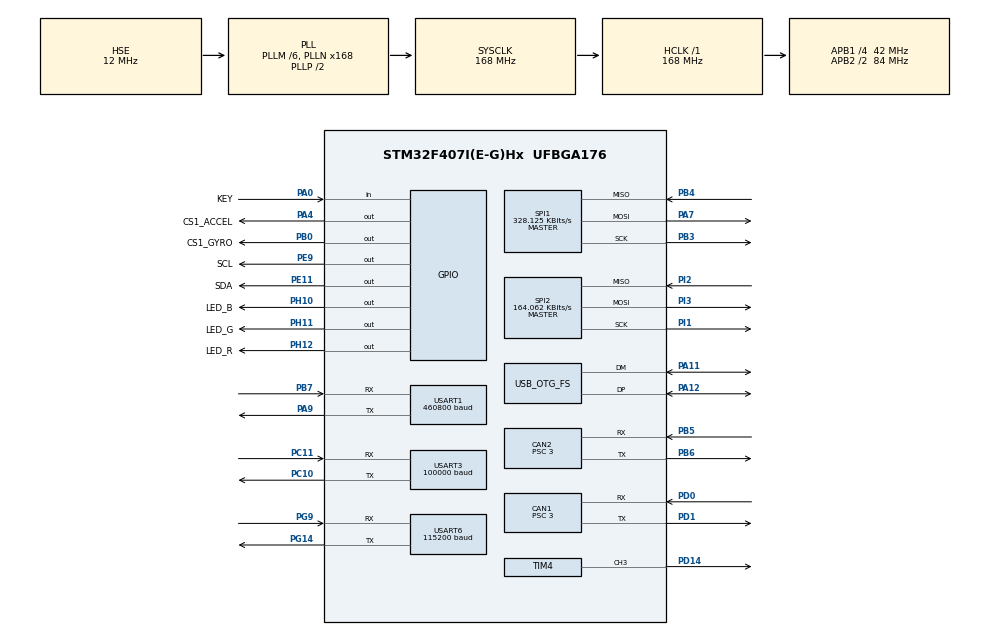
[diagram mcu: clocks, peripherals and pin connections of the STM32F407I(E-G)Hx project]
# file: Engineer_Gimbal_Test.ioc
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CAN1.ABOM=ENABLE
CAN1.AWUM=ENABLE
CAN1.BS1=CAN_BS1_10TQ
CAN1.BS2=CAN_BS2_3TQ
CAN1.CalculateBaudRate=1000000
CAN1.CalculateTimeBit=1000
CAN1.CalculateTimeQuantum=71.42857142857143
CAN1.NART=ENABLE
CAN1.Prescaler=3
CAN1.TXFP=ENABLE
CAN2.ABOM=ENABLE
CAN2.AWUM=ENABLE
CAN2.BS1=CAN_BS1_10TQ
CAN2.BS2=CAN_BS2_3TQ
CAN2.CalculateBaudRate=1000000
CAN2.CalculateTimeBit=1000
CAN2.CalculateTimeQuantum=71.42857142857143
CAN2.NART=ENABLE
CAN2.Prescaler=3
CAN2.TXFP=ENABLE
Dma.Request0=USART3_RX
Dma.Request1=USART6_RX
Dma.Request2=USART6_TX
Dma.Request3=USART1_RX
Dma.Request4=USART1_TX
Dma.Request5=SPI1_RX
Dma.Request6=SPI1_TX
Dma.SPI1_RX.5.Direction=DMA_PERIPH_TO_MEMORY
Dma.SPI1_RX.5.FIFOMode=DMA_FIFOMODE_DISABLE
Dma.SPI1_RX.5.Instance=DMA2_Stream2
Dma.SPI1_RX.5.MemDataAlignment=DMA_MDATAALIGN_BYTE
Dma.SPI1_RX.5.MemInc=DMA_MINC_ENABLE
Dma.SPI1_RX.5.Mode=DMA_NORMAL
Dma.SPI1_RX.5.PeriphDataAlignment=DMA_PDATAALIGN_BYTE
Dma.SPI1_RX.5.PeriphInc=DMA_PINC_DISABLE
Dma.SPI1_RX.5.Priority=DMA_PRIORITY_VERY_HIGH
Dma.SPI1_TX.6.Direction=DMA_MEMORY_TO_PERIPH
Dma.SPI1_TX.6.FIFOMode=DMA_FIFOMODE_DISABLE
Dma.SPI1_TX.6.Instance=DMA2_Stream3
Dma.SPI1_TX.6.MemDataAlignment=DMA_MDATAALIGN_BYTE
Dma.SPI1_TX.6.MemInc=DMA_MINC_ENABLE
Dma.SPI1_TX.6.Mode=DMA_NORMAL
Dma.SPI1_TX.6.PeriphDataAlignment=DMA_PDATAALIGN_BYTE
Dma.SPI1_TX.6.PeriphInc=DMA_PINC_DISABLE
Dma.SPI1_TX.6.Priority=DMA_PRIORITY_VERY_HIGH
Dma.USART1_RX.3.Direction=DMA_PERIPH_TO_MEMORY
Dma.USART1_RX.3.FIFOMode=DMA_FIFOMODE_DISABLE
Dma.USART1_RX.3.Instance=DMA2_Stream5
Dma.USART1_RX.3.MemDataAlignment=DMA_MDATAALIGN_BYTE
Dma.USART1_RX.3.MemInc=DMA_MINC_ENABLE
Dma.USART1_RX.3.Mode=DMA_NORMAL
Dma.USART1_RX.3.PeriphDataAlignment=DMA_PDATAALIGN_BYTE
Dma.USART1_RX.3.PeriphInc=DMA_PINC_DISABLE
Dma.USART1_RX.3.Priority=DMA_PRIORITY_LOW
Dma.USART1_TX.4.Direction=DMA_MEMORY_TO_PERIPH
Dma.USART1_TX.4.FIFOMode=DMA_FIFOMODE_DISABLE
Dma.USART1_TX.4.Instance=DMA2_Stream7
Dma.USART1_TX.4.MemDataAlignment=DMA_MDATAALIGN_BYTE
Dma.USART1_TX.4.MemInc=DMA_MINC_ENABLE
Dma.USART1_TX.4.Mode=DMA_NORMAL
Dma.USART1_TX.4.PeriphDataAlignment=DMA_PDATAALIGN_BYTE
Dma.USART1_TX.4.PeriphInc=DMA_PINC_DISABLE
Dma.USART1_TX.4.Priority=DMA_PRIORITY_LOW
Dma.USART3_RX.0.Direction=DMA_PERIPH_TO_MEMORY
Dma.USART3_RX.0.FIFOMode=DMA_FIFOMODE_DISABLE
Dma.USART3_RX.0.Instance=DMA1_Stream1
Dma.USART3_RX.0.MemDataAlignment=DMA_MDATAALIGN_BYTE
Dma.USART3_RX.0.MemInc=DMA_MINC_ENABLE
Dma.USART3_RX.0.Mode=DMA_NORMAL
Dma.USART3_RX.0.PeriphDataAlignment=DMA_PDATAALIGN_BYTE
Dma.USART3_RX.0.PeriphInc=DMA_PINC_DISABLE
Dma.USART3_RX.0.Priority=DMA_PRIORITY_HIGH
Dma.USART6_RX.1.Direction=DMA_PERIPH_TO_MEMORY
Dma.USART6_RX.1.FIFOMode=DMA_FIFOMODE_DISABLE
Dma.USART6_RX.1.Instance=DMA2_Stream1
Dma.USART6_RX.1.MemDataAlignment=DMA_MDATAALIGN_BYTE
Dma.USART6_RX.1.MemInc=DMA_MINC_ENABLE
Dma.USART6_RX.1.Mode=DMA_NORMAL
Dma.USART6_RX.1.PeriphDataAlignment=DMA_PDATAALIGN_BYTE
Dma.USART6_RX.1.PeriphInc=DMA_PINC_DISABLE
Dma.USART6_RX.1.Priority=DMA_PRIORITY_LOW
Dma.USART6_TX.2.Direction=DMA_MEMORY_TO_PERIPH
Dma.USART6_TX.2.FIFOMode=DMA_FIFOMODE_DISABLE
Dma.USART6_TX.2.Instance=DMA2_Stream6
Dma.USART6_TX.2.MemDataAlignment=DMA_MDATAALIGN_BYTE
Dma.USART6_TX.2.MemInc=DMA_MINC_ENABLE
Dma.USART6_TX.2.Mode=DMA_NORMAL
Dma.USART6_TX.2.PeriphDataAlignment=DMA_PDATAALIGN_BYTE
Dma.USART6_TX.2.PeriphInc=DMA_PINC_DISABLE
Dma.USART6_TX.2.Priority=DMA_PRIORITY_LOW
FREERTOS.BinarySemaphores01=dr16UpdateBinarySem,Dynamic,NULL,Available;CommCanBinarySem,Dynamic,NULL,;upliftLeftBinarySem,Dynamic,NULL,;upliftRightBinarySem,Dynamic,NULL,;extendLeftBinarySem,Dynamic,NULL,;extendRightBinarySem,Dynamic,NULL,;slideBinarySem,Dynamic,NULL,;armYawBinarySem,Dynamic,NULL,;yawExtendBinarySem,Dynamic,NULL,;pitchRollUpBinarySem,Dynamic,NULL,;pitchRollDownBinarySem,Dynamic,NULL,;cameraYawBinarySem,Dynamic,NULL,;armRollImuBinarySem,Dynamic,NULL,;armRollBinarySem,Dynamic,NULL,;armYawDMBinarySem,Dynamic,NULL,;armPitchDMBinarySem,Dynamic,NULL,;USBUpdateBinarySem,Dynamic,NULL,Depleted
FREERTOS.CountingSemaphores01=can1_tx_cnt_sem,3,Dynamic,NULL,3;can2_tx_cnt_sem,3,Dynamic,NULL,3
FREERTOS.Queues01=can1SendQueue,32,can_tx_t,0,Dynamic,NULL,NULL;can2SendQueue,32,can_tx_t,0,Dynamic,NULL,NULL
FREERTOS.Tasks01=defaultTask,25,128,StartDefaultTask,Default,NULL,Dynamic,NULL,NULL;kinematics,32,2048,kinematicsTask,As weak,NULL,Dynamic,NULL,NULL;rcReceive,24,128,rcReceiveTask,As weak,NULL,Dynamic,NULL,NULL;communication,24,256,communicationTask,As weak,NULL,Dynamic,NULL,NULL;armRollIMU,24,256,armRollIMUTask,As weak,NULL,Dynamic,NULL,NULL;can1Send,24,256,can1SendTask,As weak,NULL,Dynamic,NULL,NULL;can2Send,24,256,can2SendTask,As weak,NULL,Dynamic,NULL,NULL;autoCtrl,25,384,autoCtrlTask,As weak,NULL,Dynamic,NULL,NULL;motor,24,256,motorTask,As weak,NULL,Dynamic,NULL,NULL;test,24,256,testTask,As weak,NULL,Dynamic,NULL,NULL;extendCtrl,24,256,extendCtrlTask,As weak,NULL,Dynamic,NULL,NULL;slideCtrl,24,256,slideCtrlTask,As weak,NULL,Dynamic,NULL,NULL;upliftCtrl,25,256,upliftCtrlTask,As weak,NULL,Dynamic,NULL,NULL;armYawCtrl,24,256,armYawCtrlTask,As weak,NULL,Dynamic,NULL,NULL;armRollCtrl,24,256,armRollCtrlTask,As weak,NULL,Dynamic,NULL,NULL;yX2Ctrl,24,256,yX2CtrlTask,As weak,NULL,Dynamic,NULL,NULL;djiMotorService,24,256,djiMotorServiceTask,As weak,NULL,Dynamic,NULL,NULL;XGZP6847,23,128,XGZP6847Task,As weak,NULL,Dynamic,NULL,NULL;armPitchCtrl,24,256,armPitchCtrlTask,As weak,NULL,Dynamic,NULL,NULL;rc_control_Task,24,128,RC_Control_Task,As weak,NULL,Dynamic,NULL,NULL
FREERTOS.configMAX_TASK_NAME_LEN=24
FREERTOS.configTOTAL_HEAP_SIZE=86000
FREERTOS.configUSE_NEWLIB_REENTRANT=1
IWDG.Prescaler=IWDG_PRESCALER_64
IWDG.Reload=625
Mcu.Family=STM32F4
Mcu.Name=STM32F407I(E-G)Hx
Mcu.Package=UFBGA176
NVIC.CAN1_RX0_IRQn=true\:5\:0\:false\:false\:true\:true\:true\:true\:true
NVIC.CAN1_TX_IRQn=true\:5\:0\:false\:false\:true\:true\:true\:true\:true
NVIC.CAN2_RX1_IRQn=true\:5\:0\:false\:false\:true\:true\:true\:true\:true
NVIC.CAN2_TX_IRQn=true\:5\:0\:false\:false\:true\:true\:true\:true\:true
NVIC.DMA1_Stream1_IRQn=true\:5\:0\:false\:false\:true\:true\:false\:true\:true
NVIC.DMA2_Stream1_IRQn=true\:5\:0\:false\:false\:true\:true\:false\:true\:true
NVIC.DMA2_Stream2_IRQn=true\:5\:0\:false\:false\:true\:true\:false\:true\:true
NVIC.DMA2_Stream3_IRQn=true\:5\:0\:false\:false\:true\:true\:false\:true\:true
NVIC.DMA2_Stream5_IRQn=true\:5\:0\:false\:false\:true\:false\:false\:true\:true
NVIC.DMA2_Stream6_IRQn=true\:5\:0\:false\:false\:true\:true\:false\:true\:true
NVIC.DMA2_Stream7_IRQn=true\:5\:0\:false\:false\:true\:true\:false\:true\:true
NVIC.OTG_FS_IRQn=true\:5\:0\:false\:false\:true\:true\:true\:true\:true
NVIC.PriorityGroup=NVIC_PRIORITYGROUP_4
NVIC.TIM4_IRQn=true\:5\:0\:false\:false\:true\:true\:true\:true\:true
NVIC.TIM7_IRQn=true\:5\:0\:true\:false\:true\:false\:false\:true\:true
NVIC.TimeBase=TIM7_IRQn
NVIC.TimeBaseIP=TIM7
NVIC.USART1_IRQn=true\:5\:0\:false\:false\:true\:true\:true\:true\:true
NVIC.USART3_IRQn=true\:5\:0\:false\:false\:true\:true\:true\:true\:true
NVIC.USART6_IRQn=true\:5\:0\:false\:false\:true\:true\:true\:true\:true
PA0-WKUP.GPIO_Label=KEY
PA0-WKUP.GPIO_PuPd=GPIO_PULLUP
PA0-WKUP.Signal=GPIO_Input
PA11.Mode=Device_Only
PA11.Signal=USB_OTG_FS_DM
PA12.Mode=Device_Only
PA12.Signal=USB_OTG_FS_DP
PA13.Mode=Serial_Wire
PA13.Signal=SYS_JTMS-SWDIO
PA14.Mode=Serial_Wire
PA14.Signal=SYS_JTCK-SWCLK
PA4.GPIO_Label=CS1_ACCEL
PA4.GPIO_PuPd=GPIO_PULLUP
PA4.GPIO_Speed=GPIO_SPEED_FREQ_HIGH
PA4.PinState=GPIO_PIN_SET
PA4.Signal=GPIO_Output
PA7.Mode=Full_Duplex_Master
PA7.Signal=SPI1_MOSI
PA9.Mode=Asynchronous
PA9.Signal=USART1_TX
PB0.GPIO_Label=CS1_GYRO
PB0.GPIO_PuPd=GPIO_PULLUP
PB0.GPIO_Speed=GPIO_SPEED_FREQ_HIGH
PB0.PinState=GPIO_PIN_SET
PB0.Signal=GPIO_Output
PB3.Mode=Full_Duplex_Master
PB3.Signal=SPI1_SCK
PB4.Mode=Full_Duplex_Master
PB4.Signal=SPI1_MISO
PB5.Mode=CAN_Activate
PB5.Signal=CAN2_RX
PB6.Mode=CAN_Activate
PB6.Signal=CAN2_TX
PB7.Mode=Asynchronous
PB7.Signal=USART1_RX
PC10.Mode=Asynchronous
PC10.Signal=USART3_TX
PC11.Mode=Asynchronous
PC11.Signal=USART3_RX
PD0.Mode=CAN_Activate
PD0.Signal=CAN1_RX
PD1.Mode=CAN_Activate
PD1.Signal=CAN1_TX
PD14.Signal=S_TIM4_CH3
PE11.GPIO_Label=SDA
PE11.GPIO_ModeDefaultOutputPP=GPIO_MODE_OUTPUT_PP
PE11.GPIO_PuPd=GPIO_PULLUP
PE11.GPIO_Speed=GPIO_SPEED_FREQ_VERY_HIGH
PE11.PinState=GPIO_PIN_SET
PE11.Signal=GPIO_Output
PE9.GPIO_Label=SCL
PE9.GPIO_ModeDefaultOutputPP=GPIO_MODE_OUTPUT_PP
PE9.GPIO_PuPd=GPIO_PULLUP
PE9.GPIO_Speed=GPIO_SPEED_FREQ_VERY_HIGH
PE9.PinState=GPIO_PIN_SET
PE9.Signal=GPIO_Output
PG14.Mode=Asynchronous
PG14.Signal=USART6_TX
PG9.Mode=Asynchronous
PG9.Signal=USART6_RX
PH0-OSC_IN.Mode=HSE-External-Oscillator
PH0-OSC_IN.Signal=RCC_OSC_IN
PH1-OSC_OUT.Mode=HSE-External-Oscillator
PH1-OSC_OUT.Signal=RCC_OSC_OUT
PH10.GPIO_Label=LED_B
PH10.Signal=GPIO_Output
PH11.GPIO_Label=LED_G
PH11.Signal=GPIO_Output
PH12.GPIO_Label=LED_R
PH12.Signal=GPIO_Output
PI1.Mode=Full_Duplex_Master
PI1.Signal=SPI2_SCK
PI2.Mode=Full_Duplex_Master
PI2.Signal=SPI2_MISO
PI3.Mode=Full_Duplex_Master
PI3.Signal=SPI2_MOSI
ProjectManager.HeapSize=0x400
ProjectManager.StackSize=0x400
ProjectManager.TargetToolchain=STM32CubeIDE
RCC.48MHZClocksFreq_Value=48000000
RCC.AHBFreq_Value=168000000
RCC.APB1CLKDivider=RCC_HCLK_DIV4
RCC.APB1Freq_Value=42000000
RCC.APB1TimFreq_Value=84000000
RCC.APB2CLKDivider=RCC_HCLK_DIV2
RCC.APB2Freq_Value=84000000
RCC.APB2TimFreq_Value=168000000
RCC.CortexFreq_Value=168000000
RCC.HCLKFreq_Value=168000000
RCC.HSE_VALUE=12000000
RCC.HSI_VALUE=16000000
RCC.LSE_VALUE=32768
RCC.PLLM=6
RCC.PLLN=168
RCC.PLLQ=7
RCC.SYSCLKFreq_VALUE=168000000
RCC.SYSCLKSource=RCC_SYSCLKSOURCE_PLLCLK
RCC.VCOOutputFreq_Value=336000000
SH.S_TIM4_CH3.0=TIM4_CH3,PWM Generation3 CH3
SPI1.BaudRatePrescaler=SPI_BAUDRATEPRESCALER_256
SPI1.CLKPhase=SPI_PHASE_2EDGE
SPI1.CLKPolarity=SPI_POLARITY_HIGH
SPI1.CalculateBaudRate=328.125 KBits/s
SPI1.Direction=SPI_DIRECTION_2LINES
SPI1.Mode=SPI_MODE_MASTER
SPI1.VirtualType=VM_MASTER
SPI2.BaudRatePrescaler=SPI_BAUDRATEPRESCALER_256
SPI2.CLKPhase=SPI_PHASE_2EDGE
SPI2.CLKPolarity=SPI_POLARITY_HIGH
SPI2.CalculateBaudRate=164.062 KBits/s
SPI2.Direction=SPI_DIRECTION_2LINES
SPI2.Mode=SPI_MODE_MASTER
SPI2.VirtualType=VM_MASTER
TIM4.Channel-PWM\ Generation3\ CH3=TIM_CHANNEL_3
TIM4.Period=21000-1
USART1.BaudRate=460800
USART1.VirtualMode=VM_ASYNC
USART3.BaudRate=100000
USART3.VirtualMode=VM_ASYNC
USART3.WordLength=WORDLENGTH_9B
USART6.BaudRate=115200
USART6.VirtualMode=VM_ASYNC
USB_DEVICE.CLASS_NAME_FS=CDC
USB_DEVICE.VirtualMode-CDC_FS=Cdc
USB_DEVICE.VirtualModeFS=Cdc_FS
USB_OTG_FS.VirtualMode=Device_Only
VP_FREERTOS_VS_CMSIS_V2.Mode=CMSIS_V2
VP_IWDG_VS_IWDG.Mode=IWDG_Activate
VP_SYS_VS_tim7.Mode=TIM7
VP_USB_DEVICE_VS_USB_DEVICE_CDC_FS.Mode=CDC_FS
board=custom

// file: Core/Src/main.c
/* USER CODE BEGIN Header */
/**
  ******************************************************************************
  * @file           : main.c
  * @brief          : Main program body
  ******************************************************************************
  * @attention
  *
  * Copyright (c) 2024 STMicroelectronics.
  * All rights reserved.
  *
  * This software is licensed under terms that can be found in the LICENSE file
  * in the root directory of this software component.
  * If no LICENSE file comes with this software, it is provided AS-IS.
  *
  ******************************************************************************
  */
/* USER CODE END Header */
#include "main.h"
#include "cmsis_os.h"
#include "can.h"
#include "dma.h"
#include "iwdg.h"
#include "spi.h"
#include "tim.h"
#include "usart.h"
#include "usb_device.h"
#include "gpio.h"

/* USER CODE BEGIN Includes */
//#include "drv_BMI088.h"
#include "drv_buzzer.h"
/* USER CODE END Includes */

void SystemClock_Config(void);
void MX_FREERTOS_Init(void);

int main(void)
{

  /* USER CODE BEGIN 1 */
  __HAL_RCC_SYSCLK_CONFIG(RCC_SYSCLKSOURCE_HSI);
  /* USER CODE END 1 */

  /* MCU Configuration--------------------------------------------------------*/

  /* Reset of all peripherals, Initializes the Flash interface and the Systick. */
  HAL_Init();

  /* Configure the system clock */
  SystemClock_Config();

  /* Initialize all configured peripherals */
  MX_GPIO_Init();
  MX_DMA_Init();
  MX_CAN1_Init();
  MX_CAN2_Init();
  MX_USART1_UART_Init();
  MX_USART3_UART_Init();
  MX_USART6_UART_Init();
  MX_SPI1_Init();
  MX_SPI2_Init();
  MX_TIM4_Init();
  MX_IWDG_Init();
  /* USER CODE BEGIN 2 */
  buzzer_init();

  /* USER CODE END 2 */

  /* Init scheduler */
  osKernelInitialize();

  /* Call init function for freertos objects (in cmsis_os2.c) */
  MX_FREERTOS_Init();

  /* Start scheduler */
  osKernelStart();

  /* We should never get here as control is now taken by the scheduler */

  /* Infinite loop */
  while (1)
  {

  }
}

void SystemClock_Config(void)
{
  RCC_OscInitTypeDef RCC_OscInitStruct = {0};
  RCC_ClkInitTypeDef RCC_ClkInitStruct = {0};

  /** Configure the main internal regulator output voltage
  */
  __HAL_RCC_PWR_CLK_ENABLE();
  __HAL_PWR_VOLTAGESCALING_CONFIG(PWR_REGULATOR_VOLTAGE_SCALE1);

  /** Initializes the RCC Oscillators according to the specified parameters
  * in the RCC_OscInitTypeDef structure.
  */
  RCC_OscInitStruct.OscillatorType = RCC_OSCILLATORTYPE_LSI|RCC_OSCILLATORTYPE_HSE;
  RCC_OscInitStruct.HSEState = RCC_HSE_ON;
  RCC_OscInitStruct.LSIState = RCC_LSI_ON;
  RCC_OscInitStruct.PLL.PLLState = RCC_PLL_ON;
  RCC_OscInitStruct.PLL.PLLSource = RCC_PLLSOURCE_HSE;
  RCC_OscInitStruct.PLL.PLLM = 6;
  RCC_OscInitStruct.PLL.PLLN = 168;
  RCC_OscInitStruct.PLL.PLLP = RCC_PLLP_DIV2;
  RCC_OscInitStruct.PLL.PLLQ = 7;
  if (HAL_RCC_OscConfig(&RCC_OscInitStruct) != HAL_OK)
  {
    Error_Handler();
  }

  /** Initializes the CPU, AHB and APB buses clocks
  */
  RCC_ClkInitStruct.ClockType = RCC_CLOCKTYPE_HCLK|RCC_CLOCKTYPE_SYSCLK
                              |RCC_CLOCKTYPE_PCLK1|RCC_CLOCKTYPE_PCLK2;
  RCC_ClkInitStruct.SYSCLKSource = RCC_SYSCLKSOURCE_PLLCLK;
  RCC_ClkInitStruct.AHBCLKDivider = RCC_SYSCLK_DIV1;
  RCC_ClkInitStruct.APB1CLKDivider = RCC_HCLK_DIV4;
  RCC_ClkInitStruct.APB2CLKDivider = RCC_HCLK_DIV2;

  if (HAL_RCC_ClockConfig(&RCC_ClkInitStruct, FLASH_LATENCY_5) != HAL_OK)
  {
    Error_Handler();
  }
}

void HAL_TIM_PeriodElapsedCallback(TIM_HandleTypeDef *htim)
{
  if (htim->Instance == TIM7) {
    HAL_IncTick();
  }
}

void Error_Handler(void)
{
  __disable_irq();
  while (1)
  {
  }
}

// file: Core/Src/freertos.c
/* USER CODE BEGIN Header */
/**
  ******************************************************************************
  * File Name          : freertos.c
  * Description        : Code for freertos applications
  ******************************************************************************
  * @attention
  *
  * Copyright (c) 2024 STMicroelectronics.
  * All rights reserved.
  *
  * This software is licensed under terms that can be found in the LICENSE file
  * in the root directory of this software component.
  * If no LICENSE file comes with this software, it is provided AS-IS.
  *
  ******************************************************************************
  */
/* USER CODE END Header */

#include "FreeRTOS.h"
#include "task.h"
#include "main.h"
#include "cmsis_os.h"

/* USER CODE BEGIN Includes */
#include "stdbool.h"
#include "iwdg.h"
#include "user_lib.h"
/* USER CODE END Includes */

/* USER CODE BEGIN PTD */
typedef struct
{
  bool is_enable;
  uint8_t len;
  uint8_t *buff;
  uint32_t stdid;
} can_tx_t;
/* USER CODE END PTD */

/* USER CODE BEGIN Variables */
uint32_t global_working_time = 0;
/* USER CODE END Variables */
/* Definitions for defaultTask */
osThreadId_t defaultTaskHandle;
const osThreadAttr_t defaultTask_attributes = {
  .name = "defaultTask",
  .stack_size = 128 * 4,
  .priority = (osPriority_t) osPriorityNormal1,
};
/* Definitions for kinematics */
osThreadId_t kinematicsHandle;
const osThreadAttr_t kinematics_attributes = {
  .name = "kinematics",
  .stack_size = 2048 * 4,
  .priority = (osPriority_t) osPriorityAboveNormal,
};
/* Definitions for rcReceive */
osThreadId_t rcReceiveHandle;
const osThreadAttr_t rcReceive_attributes = {
  .name = "rcReceive",
  .stack_size = 128 * 4,
  .priority = (osPriority_t) osPriorityNormal,
};
/* Definitions for communication */
osThreadId_t communicationHandle;
const osThreadAttr_t communication_attributes = {
  .name = "communication",
  .stack_size = 256 * 4,
  .priority = (osPriority_t) osPriorityNormal,
};
/* Definitions for armRollIMU */
osThreadId_t armRollIMUHandle;
const osThreadAttr_t armRollIMU_attributes = {
  .name = "armRollIMU",
  .stack_size = 256 * 4,
  .priority = (osPriority_t) osPriorityNormal,
};
/* Definitions for can1Send */
osThreadId_t can1SendHandle;
const osThreadAttr_t can1Send_attributes = {
  .name = "can1Send",
  .stack_size = 256 * 4,
  .priority = (osPriority_t) osPriorityNormal,
};
/* Definitions for can2Send */
osThreadId_t can2SendHandle;
const osThreadAttr_t can2Send_attributes = {
  .name = "can2Send",
  .stack_size = 256 * 4,
  .priority = (osPriority_t) osPriorityNormal,
};
/* Definitions for autoCtrl */
osThreadId_t autoCtrlHandle;
const osThreadAttr_t autoCtrl_attributes = {
  .name = "autoCtrl",
  .stack_size = 384 * 4,
  .priority = (osPriority_t) osPriorityNormal1,
};
/* Definitions for motor */
osThreadId_t motorHandle;
const osThreadAttr_t motor_attributes = {
  .name = "motor",
  .stack_size = 256 * 4,
  .priority = (osPriority_t) osPriorityNormal,
};
/* Definitions for test */
osThreadId_t testHandle;
const osThreadAttr_t test_attributes = {
  .name = "test",
  .stack_size = 256 * 4,
  .priority = (osPriority_t) osPriorityNormal,
};
/* Definitions for extendCtrl */
osThreadId_t extendCtrlHandle;
const osThreadAttr_t extendCtrl_attributes = {
  .name = "extendCtrl",
  .stack_size = 256 * 4,
  .priority = (osPriority_t) osPriorityNormal,
};
/* Definitions for slideCtrl */
osThreadId_t slideCtrlHandle;
const osThreadAttr_t slideCtrl_attributes = {
  .name = "slideCtrl",
  .stack_size = 256 * 4,
  .priority = (osPriority_t) osPriorityNormal,
};
/* Definitions for upliftCtrl */
osThreadId_t upliftCtrlHandle;
const osThreadAttr_t upliftCtrl_attributes = {
  .name = "upliftCtrl",
  .stack_size = 256 * 4,
  .priority = (osPriority_t) osPriorityNormal1,
};
/* Definitions for armYawCtrl */
osThreadId_t armYawCtrlHandle;
const osThreadAttr_t armYawCtrl_attributes = {
  .name = "armYawCtrl",
  .stack_size = 256 * 4,
  .priority = (osPriority_t) osPriorityNormal,
};
/* Definitions for armRollCtrl */
osThreadId_t armRollCtrlHandle;
const osThreadAttr_t armRollCtrl_attributes = {
  .name = "armRollCtrl",
  .stack_size = 256 * 4,
  .priority = (osPriority_t) osPriorityNormal,
};
/* Definitions for yX2Ctrl */
osThreadId_t yX2CtrlHandle;
const osThreadAttr_t yX2Ctrl_attributes = {
  .name = "yX2Ctrl",
  .stack_size = 256 * 4,
  .priority = (osPriority_t) osPriorityNormal,
};
/* Definitions for djiMotorService */
osThreadId_t djiMotorServiceHandle;
const osThreadAttr_t djiMotorService_attributes = {
  .name = "djiMotorService",
  .stack_size = 256 * 4,
  .priority = (osPriority_t) osPriorityNormal,
};
/* Definitions for XGZP6847 */
osThreadId_t XGZP6847Handle;
const osThreadAttr_t XGZP6847_attributes = {
  .name = "XGZP6847",
  .stack_size = 128 * 4,
  .priority = (osPriority_t) osPriorityBelowNormal7,
};
/* Definitions for armPitchCtrl */
osThreadId_t armPitchCtrlHandle;
const osThreadAttr_t armPitchCtrl_attributes = {
  .name = "armPitchCtrl",
  .stack_size = 256 * 4,
  .priority = (osPriority_t) osPriorityNormal,
};
/* Definitions for rc_control_Task */
osThreadId_t rc_control_TaskHandle;
const osThreadAttr_t rc_control_Task_attributes = {
  .name = "rc_control_Task",
  .stack_size = 128 * 4,
  .priority = (osPriority_t) osPriorityNormal,
};
/* Definitions for can1SendQueue */
osMessageQueueId_t can1SendQueueHandle;
const osMessageQueueAttr_t can1SendQueue_attributes = {
  .name = "can1SendQueue"
};
/* Definitions for can2SendQueue */
osMessageQueueId_t can2SendQueueHandle;
const osMessageQueueAttr_t can2SendQueue_attributes = {
  .name = "can2SendQueue"
};
/* Definitions for dr16UpdateBinarySem */
osSemaphoreId_t dr16UpdateBinarySemHandle;
const osSemaphoreAttr_t dr16UpdateBinarySem_attributes = {
  .name = "dr16UpdateBinarySem"
};
/* Definitions for CommCanBinarySem */
osSemaphoreId_t CommCanBinarySemHandle;
const osSemaphoreAttr_t CommCanBinarySem_attributes = {
  .name = "CommCanBinarySem"
};
/* Definitions for upliftLeftBinarySem */
osSemaphoreId_t upliftLeftBinarySemHandle;
const osSemaphoreAttr_t upliftLeftBinarySem_attributes = {
  .name = "upliftLeftBinarySem"
};
/* Definitions for upliftRightBinarySem */
osSemaphoreId_t upliftRightBinarySemHandle;
const osSemaphoreAttr_t upliftRightBinarySem_attributes = {
  .name = "upliftRightBinarySem"
};
/* Definitions for extendLeftBinarySem */
osSemaphoreId_t extendLeftBinarySemHandle;
const osSemaphoreAttr_t extendLeftBinarySem_attributes = {
  .name = "extendLeftBinarySem"
};
/* Definitions for extendRightBinarySem */
osSemaphoreId_t extendRightBinarySemHandle;
const osSemaphoreAttr_t extendRightBinarySem_attributes = {
  .name = "extendRightBinarySem"
};
/* Definitions for slideBinarySem */
osSemaphoreId_t slideBinarySemHandle;
const osSemaphoreAttr_t slideBinarySem_attributes = {
  .name = "slideBinarySem"
};
/* Definitions for armYawBinarySem */
osSemaphoreId_t armYawBinarySemHandle;
const osSemaphoreAttr_t armYawBinarySem_attributes = {
  .name = "armYawBinarySem"
};
/* Definitions for yawExtendBinarySem */
osSemaphoreId_t yawExtendBinarySemHandle;
const osSemaphoreAttr_t yawExtendBinarySem_attributes = {
  .name = "yawExtendBinarySem"
};
/* Definitions for pitchRollUpBinarySem */
osSemaphoreId_t pitchRollUpBinarySemHandle;
const osSemaphoreAttr_t pitchRollUpBinarySem_attributes = {
  .name = "pitchRollUpBinarySem"
};
/* Definitions for pitchRollDownBinarySem */
osSemaphoreId_t pitchRollDownBinarySemHandle;
const osSemaphoreAttr_t pitchRollDownBinarySem_attributes = {
  .name = "pitchRollDownBinarySem"
};
/* Definitions for cameraYawBinarySem */
osSemaphoreId_t cameraYawBinarySemHandle;
const osSemaphoreAttr_t cameraYawBinarySem_attributes = {
  .name = "cameraYawBinarySem"
};
/* Definitions for armRollImuBinarySem */
osSemaphoreId_t armRollImuBinarySemHandle;
const osSemaphoreAttr_t armRollImuBinarySem_attributes = {
  .name = "armRollImuBinarySem"
};
/* Definitions for armRollBinarySem */
osSemaphoreId_t armRollBinarySemHandle;
const osSemaphoreAttr_t armRollBinarySem_attributes = {
  .name = "armRollBinarySem"
};
/* Definitions for armYawDMBinarySem */
osSemaphoreId_t armYawDMBinarySemHandle;
const osSemaphoreAttr_t armYawDMBinarySem_attributes = {
  .name = "armYawDMBinarySem"
};
/* Definitions for armPitchDMBinarySem */
osSemaphoreId_t armPitchDMBinarySemHandle;
const osSemaphoreAttr_t armPitchDMBinarySem_attributes = {
  .name = "armPitchDMBinarySem"
};
/* Definitions for USBUpdateBinarySem */
osSemaphoreId_t USBUpdateBinarySemHandle;
const osSemaphoreAttr_t USBUpdateBinarySem_attributes = {
  .name = "USBUpdateBinarySem"
};
/* Definitions for can1_tx_cnt_sem */
osSemaphoreId_t can1_tx_cnt_semHandle;
const osSemaphoreAttr_t can1_tx_cnt_sem_attributes = {
  .name = "can1_tx_cnt_sem"
};
/* Definitions for can2_tx_cnt_sem */
osSemaphoreId_t can2_tx_cnt_semHandle;
const osSemaphoreAttr_t can2_tx_cnt_sem_attributes = {
  .name = "can2_tx_cnt_sem"
};

void StartDefaultTask(void *argument);
void kinematicsTask(void *argument);
void rcReceiveTask(void *argument);
void communicationTask(void *argument);
void armRollIMUTask(void *argument);
void can1SendTask(void *argument);
void can2SendTask(void *argument);
void autoCtrlTask(void *argument);
void motorTask(void *argument);
void testTask(void *argument);
void extendCtrlTask(void *argument);
void slideCtrlTask(void *argument);
void upliftCtrlTask(void *argument);
void armYawCtrlTask(void *argument);
void armRollCtrlTask(void *argument);
void yX2CtrlTask(void *argument);
void djiMotorServiceTask(void *argument);
void XGZP6847Task(void *argument);
void armPitchCtrlTask(void *argument);
void RC_Control_Task(void *argument);

extern void MX_USB_DEVICE_Init(void);
void MX_FREERTOS_Init(void); /* (MISRA C 2004 rule 8.1) */

void MX_FREERTOS_Init(void) {

  /* Create the semaphores(s) */
  /* creation of dr16UpdateBinarySem */
  dr16UpdateBinarySemHandle = osSemaphoreNew(1, 1, &dr16UpdateBinarySem_attributes);

  /* creation of CommCanBinarySem */
  CommCanBinarySemHandle = osSemaphoreNew(1, 1, &CommCanBinarySem_attributes);

  /* creation of upliftLeftBinarySem */
  upliftLeftBinarySemHandle = osSemaphoreNew(1, 1, &upliftLeftBinarySem_attributes);

  /* creation of upliftRightBinarySem */
  upliftRightBinarySemHandle = osSemaphoreNew(1, 1, &upliftRightBinarySem_attributes);

  /* creation of extendLeftBinarySem */
  extendLeftBinarySemHandle = osSemaphoreNew(1, 1, &extendLeftBinarySem_attributes);

  /* creation of extendRightBinarySem */
  extendRightBinarySemHandle = osSemaphoreNew(1, 1, &extendRightBinarySem_attributes);

  /* creation of slideBinarySem */
  slideBinarySemHandle = osSemaphoreNew(1, 1, &slideBinarySem_attributes);

  /* creation of armYawBinarySem */
  armYawBinarySemHandle = osSemaphoreNew(1, 1, &armYawBinarySem_attributes);

  /* creation of yawExtendBinarySem */
  yawExtendBinarySemHandle = osSemaphoreNew(1, 1, &yawExtendBinarySem_attributes);

  /* creation of pitchRollUpBinarySem */
  pitchRollUpBinarySemHandle = osSemaphoreNew(1, 1, &pitchRollUpBinarySem_attributes);

  /* creation of pitchRollDownBinarySem */
  pitchRollDownBinarySemHandle = osSemaphoreNew(1, 1, &pitchRollDownBinarySem_attributes);

  /* creation of cameraYawBinarySem */
  cameraYawBinarySemHandle = osSemaphoreNew(1, 1, &cameraYawBinarySem_attributes);

  /* creation of armRollImuBinarySem */
  armRollImuBinarySemHandle = osSemaphoreNew(1, 1, &armRollImuBinarySem_attributes);

  /* creation of armRollBinarySem */
  armRollBinarySemHandle = osSemaphoreNew(1, 1, &armRollBinarySem_attributes);

  /* creation of armYawDMBinarySem */
  armYawDMBinarySemHandle = osSemaphoreNew(1, 1, &armYawDMBinarySem_attributes);

  /* creation of armPitchDMBinarySem */
  armPitchDMBinarySemHandle = osSemaphoreNew(1, 1, &armPitchDMBinarySem_attributes);

  /* creation of USBUpdateBinarySem */
  USBUpdateBinarySemHandle = osSemaphoreNew(1, 0, &USBUpdateBinarySem_attributes);

  /* creation of can1_tx_cnt_sem */
  can1_tx_cnt_semHandle = osSemaphoreNew(3, 3, &can1_tx_cnt_sem_attributes);

  /* creation of can2_tx_cnt_sem */
  can2_tx_cnt_semHandle = osSemaphoreNew(3, 3, &can2_tx_cnt_sem_attributes);

  /* Create the queue(s) */
  /* creation of can1SendQueue */
  can1SendQueueHandle = osMessageQueueNew (32, sizeof(can_tx_t), &can1SendQueue_attributes);

  /* creation of can2SendQueue */
  can2SendQueueHandle = osMessageQueueNew (32, sizeof(can_tx_t), &can2SendQueue_attributes);

  /* Create the thread(s) */
  /* creation of defaultTask */
  defaultTaskHandle = osThreadNew(StartDefaultTask, NULL, &defaultTask_attributes);

  /* creation of kinematics */
  kinematicsHandle = osThreadNew(kinematicsTask, NULL, &kinematics_attributes);

  /* creation of rcReceive */
  rcReceiveHandle = osThreadNew(rcReceiveTask, NULL, &rcReceive_attributes);

  /* creation of communication */
  communicationHandle = osThreadNew(communicationTask, NULL, &communication_attributes);

  /* creation of armRollIMU */
  armRollIMUHandle = osThreadNew(armRollIMUTask, NULL, &armRollIMU_attributes);

  /* creation of can1Send */
  can1SendHandle = osThreadNew(can1SendTask, NULL, &can1Send_attributes);

  /* creation of can2Send */
  can2SendHandle = osThreadNew(can2SendTask, NULL, &can2Send_attributes);

  /* creation of autoCtrl */
  autoCtrlHandle = osThreadNew(autoCtrlTask, NULL, &autoCtrl_attributes);

  /* creation of motor */
  motorHandle = osThreadNew(motorTask, NULL, &motor_attributes);

  /* creation of test */
  testHandle = osThreadNew(testTask, NULL, &test_attributes);

  /* creation of extendCtrl */
  extendCtrlHandle = osThreadNew(extendCtrlTask, NULL, &extendCtrl_attributes);

  /* creation of slideCtrl */
  slideCtrlHandle = osThreadNew(slideCtrlTask, NULL, &slideCtrl_attributes);

  /* creation of upliftCtrl */
  upliftCtrlHandle = osThreadNew(upliftCtrlTask, NULL, &upliftCtrl_attributes);

  /* creation of armYawCtrl */
  armYawCtrlHandle = osThreadNew(armYawCtrlTask, NULL, &armYawCtrl_attributes);

  /* creation of armRollCtrl */
  armRollCtrlHandle = osThreadNew(armRollCtrlTask, NULL, &armRollCtrl_attributes);

  /* creation of yX2Ctrl */
  yX2CtrlHandle = osThreadNew(yX2CtrlTask, NULL, &yX2Ctrl_attributes);

  /* creation of djiMotorService */
  djiMotorServiceHandle = osThreadNew(djiMotorServiceTask, NULL, &djiMotorService_attributes);

  /* creation of XGZP6847 */
  XGZP6847Handle = osThreadNew(XGZP6847Task, NULL, &XGZP6847_attributes);

  /* creation of armPitchCtrl */
  armPitchCtrlHandle = osThreadNew(armPitchCtrlTask, NULL, &armPitchCtrl_attributes);

  /* creation of rc_control_Task */
  rc_control_TaskHandle = osThreadNew(RC_Control_Task, NULL, &rc_control_Task_attributes);

}

void StartDefaultTask(void *argument)
{
  /* init code for USB_DEVICE */
  MX_USB_DEVICE_Init();
  /* USER CODE BEGIN StartDefaultTask */
  /* Infinite loop */
  for(;;)
  {
    global_working_time = HAL_GetTick();
    HAL_GPIO_TogglePin(LED_G_GPIO_Port,LED_G_Pin);
    HAL_IWDG_Refresh(&hiwdg);//(625-1+1)*64/32000s
    osDelay(200);
  }
  /* USER CODE END StartDefaultTask */
}

__weak void kinematicsTask(void *argument)
{
  for(;;)
  {
    osDelay(1);
  }
}

__weak void rcReceiveTask(void *argument)
{
  for(;;)
  {
    osDelay(1);
  }
}

__weak void communicationTask(void *argument)
{
  for(;;)
  {
    osDelay(1);
  }
}

__weak void armRollIMUTask(void *argument)
{
  for(;;)
  {
    osDelay(1);
  }
}

__weak void can1SendTask(void *argument)
{
  for(;;)
  {
    osDelay(1);
  }
}

__weak void can2SendTask(void *argument)
{
  for(;;)
  {
    osDelay(1);
  }
}

__weak void autoCtrlTask(void *argument)
{
  for(;;)
  {
    osDelay(1);
  }
}

__weak void motorTask(void *argument)
{
  for(;;)
  {
    osDelay(1);
  }
}

__weak void testTask(void *argument)
{
  for(;;)
  {
    osDelay(1);
  }
}

__weak void extendCtrlTask(void *argument)
{
  for(;;)
  {
    osDelay(1);
  }
}

__weak void slideCtrlTask(void *argument)
{
  for(;;)
  {
    osDelay(1);
  }
}

__weak void upliftCtrlTask(void *argument)
{
  for(;;)
  {
    osDelay(1);
  }
}

__weak void armYawCtrlTask(void *argument)
{
  for(;;)
  {
    osDelay(1);
  }
}

__weak void armRollCtrlTask(void *argument)
{
  for(;;)
  {
    osDelay(1);
  }
}

__weak void yX2CtrlTask(void *argument)
{
  for(;;)
  {
    osDelay(1);
  }
}

__weak void djiMotorServiceTask(void *argument)
{
  for(;;)
  {
    osDelay(1);
  }
}

__weak void XGZP6847Task(void *argument)
{
  for(;;)
  {
    osDelay(1);
  }
}

__weak void armPitchCtrlTask(void *argument)
{
  for(;;)
  {
    osDelay(1);
  }
}

__weak void RC_Control_Task(void *argument)
{
  for(;;)
  {
    osDelay(1);
  }
}
